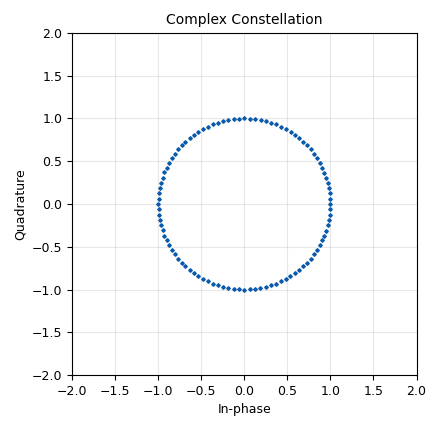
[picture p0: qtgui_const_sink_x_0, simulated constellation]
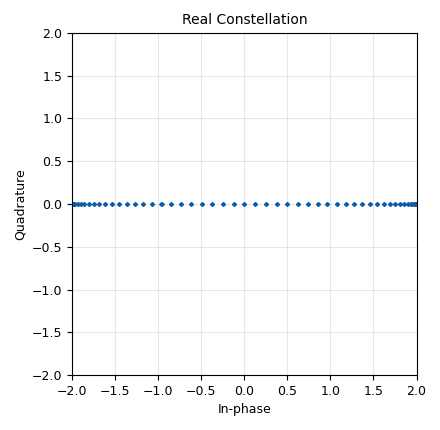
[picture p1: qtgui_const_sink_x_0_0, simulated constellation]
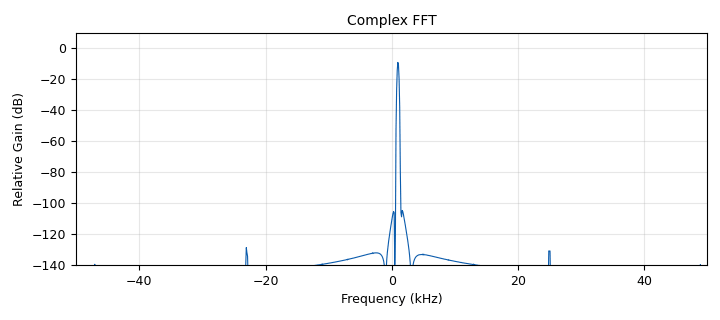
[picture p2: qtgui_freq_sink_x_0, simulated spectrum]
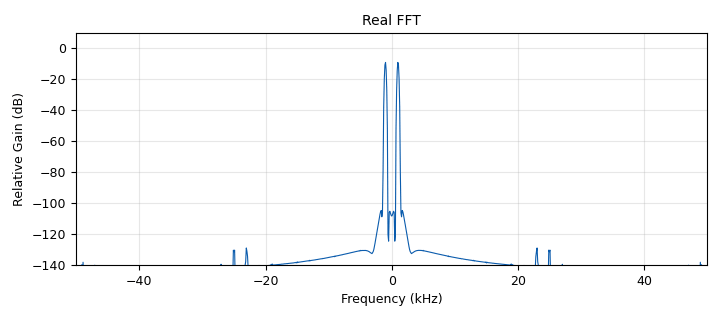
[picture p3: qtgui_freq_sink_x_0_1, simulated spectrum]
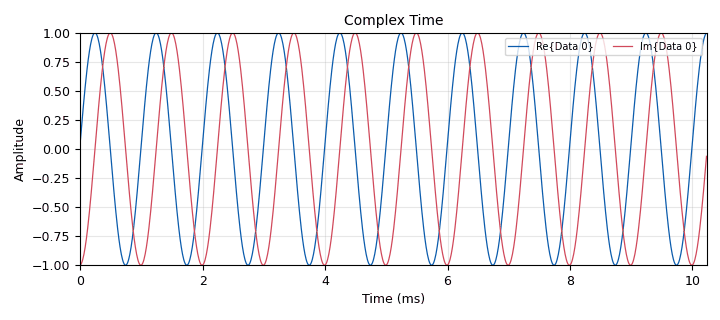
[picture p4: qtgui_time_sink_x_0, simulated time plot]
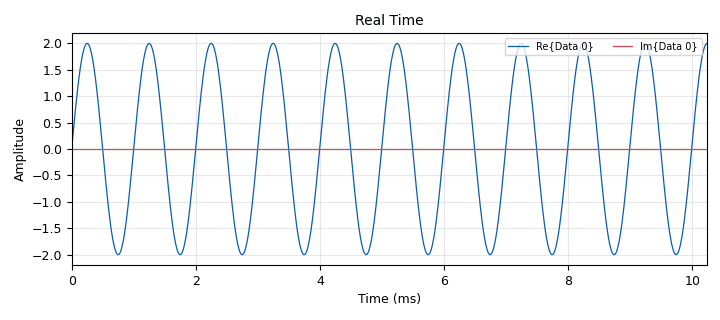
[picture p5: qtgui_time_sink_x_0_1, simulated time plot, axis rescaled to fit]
options:
  parameters:
    author: mmprk
    generate_options: qt_gui
    id: complexPlot
    output_language: python
    title: complexPlot
  states: {}

blocks:
- name: freq
  id: variable_qtgui_range
  parameters:
    start: '-100e3'
    step: '1'
    stop: 100e3
    value: '1000'
  states: {}
- name: samp_rate
  id: variable
  parameters:
    value: 100e3
  states: {}
- name: analog_sig_source_x_0
  id: analog_sig_source_x
  parameters:
    amp: '1'
    freq: freq
    offset: '0'
    phase: '0'
    samp_rate: samp_rate
    type: complex
    waveform: analog.GR_COS_WAVE
  states: {}
- name: analog_sig_source_x_0_0
  id: analog_sig_source_x
  parameters:
    amp: '1'
    comment: |-
      When you plot a real cosign as a float type
      you only see the cosign in the time sink and
      in the frequency sink you see a mirrored image
      of the positive frequency in the negitive freq side.
    freq: freq
    offset: '0'
    phase: '0'
    samp_rate: samp_rate
    type: float
    waveform: analog.GR_COS_WAVE
  states: {state: disabled}
- name: blocks_add_xx_0
  id: blocks_add_xx
  parameters:
    comment: |-
      By adding the complex signal
      to the complex conjugate, you
      can reduce the imaginary part
      to 0, leaving only the real part.
      a+ib + a-ib = 2a
      Note that the amplitude of the
      real part will be doubled.
    type: complex
  states: {}
- name: blocks_conjugate_cc_0
  id: blocks_conjugate_cc
  parameters: {}
  states: {}
- name: blocks_throttle2_0
  id: blocks_throttle2
  parameters:
    comment: |-
      Throttle blocks are only needed when
       running simulations.
    samples_per_second: samp_rate
    type: complex
  states: {}
- name: blocks_throttle2_0_0
  id: blocks_throttle2
  parameters:
    samples_per_second: samp_rate
    type: float
  states: {state: disabled}
- name: qtgui_const_sink_x_0
  id: qtgui_const_sink_x
  parameters:
    name: '"Complex Constellation"'
    size: '1024'
    type: complex
  states: {}
- name: qtgui_const_sink_x_0_0
  id: qtgui_const_sink_x
  parameters:
    name: '"Real Constellation"'
    size: '1024'
    type: complex
  states: {}
- name: qtgui_freq_sink_x_0
  id: qtgui_freq_sink_x
  parameters:
    bw: samp_rate
    fc: '0'
    fftsize: '1024'
    name: '"Complex FFT"'
    type: complex
  states: {}
- name: qtgui_freq_sink_x_0_0
  id: qtgui_freq_sink_x
  parameters:
    bw: samp_rate
    fc: 10e3
    fftsize: '1024'
    type: float
  states: {state: disabled}
- name: qtgui_freq_sink_x_0_1
  id: qtgui_freq_sink_x
  parameters:
    bw: samp_rate
    fc: '0'
    fftsize: '1024'
    name: '"Real FFT"'
    type: complex
  states: {}
- name: qtgui_time_sink_x_0
  id: qtgui_time_sink_x
  parameters:
    ctrlpanel: 'True'
    name: '"Complex Time"'
    size: '1024'
    srate: samp_rate
    type: complex
  states: {}
- name: qtgui_time_sink_x_0_0
  id: qtgui_time_sink_x
  parameters:
    comment: |-
      You can enable the control pannel by going to the
      config tab and checking the box.
    ctrlpanel: 'True'
    size: '1024'
    srate: samp_rate
    type: float
  states: {state: disabled}
- name: qtgui_time_sink_x_0_1
  id: qtgui_time_sink_x
  parameters:
    ctrlpanel: 'True'
    name: '"Real Time"'
    size: '1024'
    srate: samp_rate
    type: complex
  states: {}

connections:
- [analog_sig_source_x_0, '0', blocks_throttle2_0, '0']
- [analog_sig_source_x_0_0, '0', blocks_throttle2_0_0, '0']
- [blocks_add_xx_0, '0', qtgui_const_sink_x_0_0, '0']
- [blocks_add_xx_0, '0', qtgui_freq_sink_x_0_1, '0']
- [blocks_add_xx_0, '0', qtgui_time_sink_x_0_1, '0']
- [blocks_conjugate_cc_0, '0', blocks_add_xx_0, '1']
- [blocks_throttle2_0, '0', blocks_add_xx_0, '0']
- [blocks_throttle2_0, '0', blocks_conjugate_cc_0, '0']
- [blocks_throttle2_0, '0', qtgui_const_sink_x_0, '0']
- [blocks_throttle2_0, '0', qtgui_freq_sink_x_0, '0']
- [blocks_throttle2_0, '0', qtgui_time_sink_x_0, '0']
- [blocks_throttle2_0_0, '0', qtgui_freq_sink_x_0_0, '0']
- [blocks_throttle2_0_0, '0', qtgui_time_sink_x_0_0, '0']

metadata:
  file_format: 1
  grc_version: 3.10.6.0
